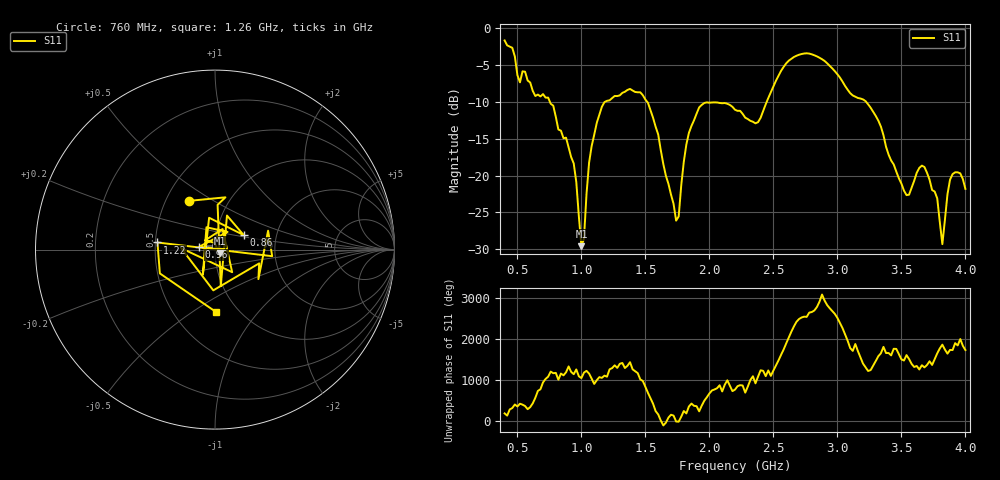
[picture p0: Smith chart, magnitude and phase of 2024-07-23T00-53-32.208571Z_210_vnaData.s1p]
!Created with skrf (http://scikit-rf.org).
# Hz S RI R 50.0
!freq ReS11 ImS11
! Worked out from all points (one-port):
!   181 points, 400 MHz to 4 GHz, reference 50 ohm
!   lowest |S11| = -29.6 dB at 1 GHz (marker M1), VSWR 1.07, Z = 52.6 - j2.25 ohm
!   |S11| at or under -10 dB: 753.5 MHz to 1.187 GHz (433 MHz wide, 44.6 % of centre); 1.513 GHz to 2.448 GHz (935 MHz wide, 47.2 % of centre); 3.224 GHz to end of sweep
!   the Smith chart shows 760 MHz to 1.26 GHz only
!   S11 on the Smith chart (normalised r, x): 760 MHz: 0.66, +0.39; 860 MHz: 1.36, +0.23; 960 MHz: 0.84, +0.03; 1.22 GHz: 0.51, +0.05; 1.26 GHz: 0.79, -0.62
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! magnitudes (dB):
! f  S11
! 400 MHz  -1.7
! 520 MHz  -7.4
! 760 MHz  -10.3
! 860 MHz  -14.9
! 960 MHz  -20.9
! 1 GHz  -29.6
! 1.02 GHz  -28.6
! 1.06 GHz  -18.3
! 1.08 GHz  -16.0
! 1.22 GHz  -9.8
! 1.26 GHz  -9.2
! 1.3 GHz  -9.1
! 1.52 GHz  -10.2
! 1.76 GHz  -25.5
! 1.82 GHz  -15.8
! 1.92 GHz  -10.8
! 2.2 GHz  -11.1
! 2.38 GHz  -12.8
! 2.66 GHz  -3.9
! 2.88 GHz  -4.2
! 3.1 GHz  -8.8
! 3.3 GHz  -11.9
! 3.56 GHz  -22.6
! 3.68 GHz  -18.8
! 3.78 GHz  -23.1
! 3.82 GHz  -29.3
! 3.88 GHz  -20.6
! 4 GHz  -21.8
